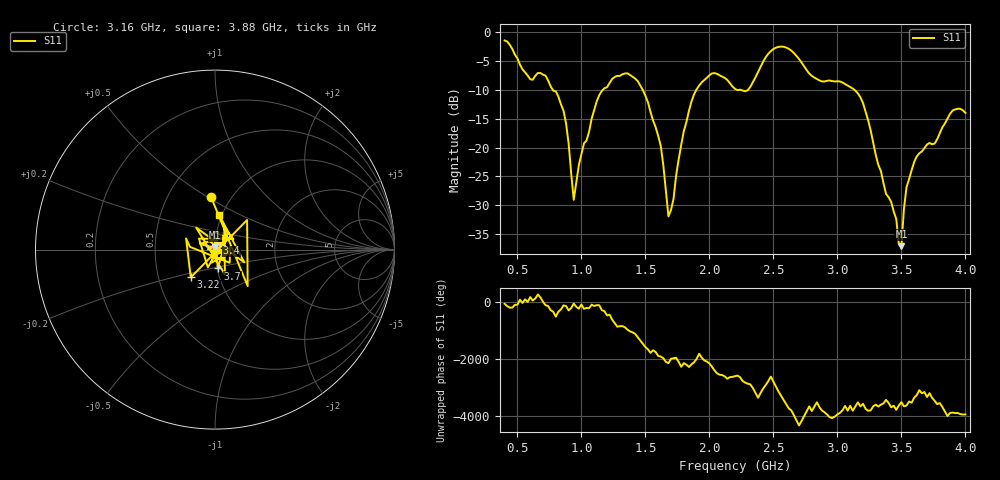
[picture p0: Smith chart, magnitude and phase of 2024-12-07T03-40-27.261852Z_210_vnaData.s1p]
!Created with skrf (http://scikit-rf.org).
# Hz S RI R 50.0
!freq ReS11 ImS11
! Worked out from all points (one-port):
!   181 points, 400 MHz to 4 GHz, reference 50 ohm
!   lowest |S11| = -37.1 dB at 3.5 GHz (marker M1), VSWR 1.03, Z = 49.7 + j1.36 ohm
!   |S11| at or under -10 dB: 776.9 MHz to 1.167 GHz (389.9 MHz wide, 40.1 % of centre); 1.479 GHz to 1.897 GHz (418 MHz wide, 24.8 % of centre); 3.134 GHz to end of sweep (the widest 3 of 5)
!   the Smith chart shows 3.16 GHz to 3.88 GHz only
!   S11 on the Smith chart (normalised r, x): 3.16 GHz: 0.81, +0.52; 3.22 GHz: 0.73, -0.24; 3.4 GHz: 1.02, +0.07; 3.7 GHz: 1.01, -0.21; 3.88 GHz: 0.97, +0.39
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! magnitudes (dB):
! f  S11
! 400 MHz  -1.4
! 600 MHz  -8.1
! 720 MHz  -7.5
! 860 MHz  -13.6
! 940 MHz  -29.1
! 980 MHz  -23.0
! 1.12 GHz  -12.0
! 1.3 GHz  -7.6
! 1.52 GHz  -12.2
! 1.62 GHz  -19.7
! 1.68 GHz  -32.0
! 1.76 GHz  -22.0
! 1.92 GHz  -9.2
! 2.04 GHz  -7.1
! 2.2 GHz  -9.8
! 2.3 GHz  -10.0
! 2.5 GHz  -2.9
! 2.66 GHz  -3.6
! 3.1 GHz  -9.5
! 3.16 GHz  -10.6
! 3.22 GHz  -13.8
! 3.4 GHz  -28.6
! 3.5 GHz  -37.1
! 3.52 GHz  -30.6
! 3.56 GHz  -25.5
! 3.7 GHz  -19.5
! 3.88 GHz  -14.1
! 4 GHz  -14.0
